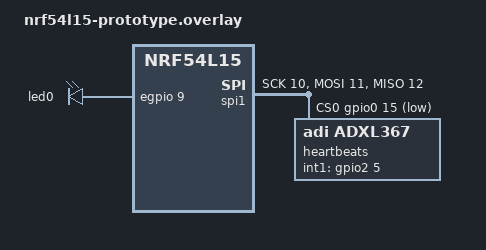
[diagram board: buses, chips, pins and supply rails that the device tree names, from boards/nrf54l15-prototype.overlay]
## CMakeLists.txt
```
cmake_minimum_required(VERSION 3.20.0)
find_package(Zephyr REQUIRED HINTS $ENV{ZEPHYR_BASE})

project(earworm_sensor)

target_sources(app PRIVATE src/main.c)
target_sources(app PRIVATE src/power_failure/pfc.c)
target_sources(app PRIVATE src/accel/accel.c)
# target_sources(app PRIVATE src/accel/filter.c)
target_sources(app PRIVATE src/ble/ble.c)

#set(BOARD nrf54l15dk_nrf54l15)
```

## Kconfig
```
#
# Copyright (c) 2018 Nordic Semiconductor
#
# SPDX-License-Identifier: LicenseRef-Nordic-5-Clause
#

source "Kconfig.zephyr"

menu "Nordic UART BLE GATT service sample"

config BT_NUS_THREAD_STACK_SIZE
	int "Thread stack size"
	default 1024
	help
	  Stack size used in each of the two threads

config BT_NUS_UART_BUFFER_SIZE
	int "UART payload buffer element size"
	default 40
	help
	  Size of the payload buffer in each RX and TX FIFO element

config BT_NUS_SECURITY_ENABLED
	bool "Enable security"
	default y
	select BT_SMP
	help
	  "Enable BLE security for the UART service"

config BT_NUS_UART_RX_WAIT_TIME
	int "Timeout for UART RX complete event"
	default 50000
	help
	  Wait for RX complete event time in microseconds

config SETTINGS
	default y

config ZMS
	default y if SOC_FLASH_NRF_RRAM

config NVS
	default y if !SOC_FLASH_NRF_RRAM

endmenu
```

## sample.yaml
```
sample:
  description: Bluetooth Low Energy UART service sample
  name: Bluetooth LE UART service
tests:
  sample.bluetooth.peripheral_uart:
    sysbuild: true
    build_only: true
    platform_allow: nrf52dk/nrf52832 nrf52833dk/nrf52833 nrf52840dk/nrf52840
      nrf5340dk/nrf5340/cpuapp nrf5340dk/nrf5340/cpuapp/ns thingy53/nrf5340/cpuapp
      thingy53/nrf5340/cpuapp/ns nrf21540dk/nrf52840 nrf54l15dk/nrf54l15/cpuapp
      nrf54l15pdk/nrf54l15/cpuapp nrf54h20dk/nrf54h20/cpuapp nrf54h20dk/nrf54h20/cpurad
    integration_platforms:
      - nrf52dk/nrf52832
      - nrf52833dk/nrf52833
      - nrf52840dk/nrf52840
      - nrf5340dk/nrf5340/cpuapp
      - nrf5340dk/nrf5340/cpuapp/ns
      - thingy53/nrf5340/cpuapp
      - thingy53/nrf5340/cpuapp/ns
      - nrf21540dk/nrf52840
      - nrf54l15dk/nrf54l15/cpuapp
      - nrf54l15pdk/nrf54l15/cpuapp
      - nrf54h20dk/nrf54h20/cpuapp
      - nrf54h20dk/nrf54h20/cpurad
    tags: bluetooth ci_build sysbuild
  sample.bluetooth.peripheral_uart_cdc:
    sysbuild: true
    build_only: true
    extra_args: OVERLAY_CONFIG=prj_cdc.conf DTC_OVERLAY_FILE="usb.overlay"
    integration_platforms:
      - nrf52840dk/nrf52840
      - nrf52833dk/nrf52833
    platform_allow: nrf52840dk/nrf52840 nrf52833dk/nrf52833
    tags: bluetooth ci_build sysbuild
  sample.bluetooth.peripheral_uart_minimal:
    sysbuild: true
    build_only: true
    extra_args: FILE_SUFFIX=minimal
    integration_platforms:
      - nrf52dk/nrf52805
      - nrf52dk/nrf52810
      - nrf52840dk/nrf52811
      - nrf52833dk/nrf52820
    platform_allow: nrf52dk/nrf52805 nrf52dk/nrf52810 nrf52840dk/nrf52811 nrf52833dk/nrf52820
    tags: bluetooth ci_build sysbuild
  sample.bluetooth.peripheral_uart_ble_rpc:
    sysbuild: true
    build_only: true
    extra_args:
      - SNIPPET=nordic-bt-rpc
      - FILE_SUFFIX=bt_rpc
    integration_platforms:
      - nrf5340dk/nrf5340/cpuapp
      - nrf54h20dk/nrf54h20/cpuapp
    platform_allow: nrf5340dk/nrf5340/cpuapp nrf54h20dk/nrf54h20/cpuapp
    tags: bluetooth ci_build sysbuild
  sample.bluetooth.peripheral_uart.security_disabled:
    sysbuild: true
    build_only: true
    platform_allow: nrf52dk/nrf52832 nrf52833dk/nrf52833 nrf52840dk/nrf52840
      nrf5340dk/nrf5340/cpuapp nrf5340dk/nrf5340/cpuapp/ns thingy53/nrf5340/cpuapp
      thingy53/nrf5340/cpuapp/ns nrf21540dk/nrf52840
    integration_platforms:
      - nrf52840dk/nrf52840
    tags: bluetooth ci_build sysbuild
    extra_configs:
      - CONFIG_BT_NUS_SECURITY_ENABLED=n
```

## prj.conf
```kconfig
# Copyright (c) 2021 Nordic Semiconductor ASA
# SPDX-License-Identifier: Apache-2.0
#
# This file contains selected Kconfig options for the application.

CONFIG_GPIO=y

# Power failure Kconfig options
#CONFIG_PM=y
CONFIG_PM_DEVICE=y
CONFIG_PM_DEVICE_RUNTIME=y
CONFIG_PM_STATS=y
CONFIG_POWEROFF=y

CONFIG_NRFX_POWER=y 
CONFIG_ADC=y
CONFIG_ADC_NRFX_SAADC=y

# ADXL367 Kconfig options
CONFIG_SENSOR=y
CONFIG_SENSOR_ASYNC_API=y
CONFIG_SPI=y
#CONFIG_SPI_ASYNC=y
CONFIG_SPI_RTIO=y
#CONFIG_SPI_NRFX=y
CONFIG_ADXL367=y
CONFIG_ADXL367_STREAM=n
CONFIG_ADXL367_TRIGGER_GLOBAL_THREAD=y
#CONFIG_ADXL367_ACTIVITY_DETECTION_MODE=n
##CONFIG_ADXL367_INACTIVITY_DETECTION_MODE=n
#CONFIG_ADXL367_REFERENCED_ACTIVITY_DETECTION_MODE=n
#CONFIG_ADXL367_REFERENCED_INACTIVITY_DETECTION_MODE=n


# Bluetooth Kconfig options

# Enable the UART driver
CONFIG_UART_ASYNC_API=n
CONFIG_NRFX_UARTE0=n
CONFIG_SERIAL=n

# # Make sure printk is printing to the UART console
CONFIG_CONSOLE=n
CONFIG_UART_CONSOLE=n

CONFIG_BT=y
CONFIG_BT_PERIPHERAL=y
CONFIG_BT_LL_SW_SPLIT=y
CONFIG_BT_CTLR_ADVANCED_FEATURES=y # Ensures low-power modes
CONFIG_BT_DEVICE_NAME="Nordic_UART_Service"
CONFIG_BT_MAX_CONN=1
CONFIG_BT_MAX_PAIRED=1
CONFIG_BT_CTLR=y
CONFIG_BT_HCI=y
CONFIG_BT_PHY_UPDATE=y

# # Enable the NUS service
CONFIG_BT_NUS=y

# # Enable bonding
# CONFIG_BT_SETTINGS=y
# CONFIG_FLASH=y
# CONFIG_FLASH_PAGE_LAYOUT=y
# CONFIG_FLASH_MAP=y


#------------------------------------------------------------------------------------

CONFIG_BT_DEVICE_NAME="earworm_ble"
CONFIG_BT=y
CONFIG_BT_SMP=y
CONFIG_BT_PERIPHERAL=y
CONFIG_BT_CENTRAL=y
CONFIG_BT_MAX_CONN=2
CONFIG_BT_BONDABLE=n

CONFIG_BT_SCAN=y
CONFIG_BT_SCAN_FILTER_ENABLE=y
CONFIG_BT_SCAN_UUID_CNT=1

CONFIG_BT_GATT_CLIENT=y
CONFIG_BT_THROUGHPUT=y

CONFIG_BT_GATT_DM=y
CONFIG_HEAP_MEM_POOL_SIZE=2048

CONFIG_BT_USER_DATA_LEN_UPDATE=y
CONFIG_BT_USER_PHY_UPDATE=y
CONFIG_BT_GAP_AUTO_UPDATE_CONN_PARAMS=n

CONFIG_BT_BUF_ACL_RX_SIZE=2048
CONFIG_BT_ATT_PREPARE_COUNT=2
CONFIG_BT_ATT_TX_COUNT=10
CONFIG_BT_L2CAP_TX_MTU=2000
CONFIG_BT_L2CAP_DYNAMIC_CHANNEL=y
CONFIG_BT_CONN_TX_MAX=10
CONFIG_BT_BUF_ACL_TX_COUNT=10
CONFIG_BT_BUF_ACL_TX_SIZE=2048

CONFIG_BT_CTLR_DATA_LENGTH_MAX=251
CONFIG_BT_CTLR_PHY_2M=y
CONFIG_BT_CTLR_PHY_CODED=y
CONFIG_BT_CTLR_SDC_MAX_CONN_EVENT_LEN_DEFAULT=4000000

#------------------------------------------------------------------------------------


# Enable DK LED and Buttons library
CONFIG_DK_LIBRARY=y

# # This example requires more stack
# CONFIG_MAIN_STACK_SIZE=1152
# CONFIG_SYSTEM_WORKQUEUE_STACK_SIZE=2048

# # Config logger
CONFIG_LOG=n
#CONFIG_USE_SEGGER_RTT=y
#CONFIG_LOG_BACKEND_RTT=y
#CONFIG_LOG_BACKEND_UART=n
#CONFIG_LOG_PRINTK=n
#CONFIG_LOG_DEFAULT_LEVEL=4
#CONFIG_SENSOR_LOG_LEVEL_DBG=y
# CONFIG_PRINTK=y

CONFIG_ASSERT=y

# # Use External LF Crystal Oscillator
# # CONFIG_CLOCK_CONTROL_NRF_LF_CLOCK_LFXO=y ##################

# # Add Data Packet Length Extension (DLE) Support
# # CONFIG_BT_CTLR_DATA_LENGTH_MAX=251
# CONFIG_BT_DATA_LEN_UPDATE=y

# # Enable Connection Event Length Extension
# # CONFIG_BT_CTLR_CONN_EVT_LEN_EXT=y #####

# CONFIG_SENSOR_LOG_LEVEL_DBG=y

# # Enable shell for debugging
# CONFIG_I2C=y

#CONFIG_SHELL=y
#CONFIG_SPI_SHELL=y
#CONFIG_SENSOR_SHELL=y
#CONFIG_SENSOR_SHELL_STREAM=y

#CONFIG_MAIN_STACK_SIZE=2048
#CONFIG_NO_OPTIMIZATIONS=y
```

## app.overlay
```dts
/*
 * Copyright (c) 2022 Nordic Semiconductor ASA
 *
 * SPDX-License-Identifier: LicenseRef-Nordic-5-Clause
 */
```

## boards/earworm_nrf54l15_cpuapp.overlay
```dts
/*
 * Copyright (c) 2024 Nordic Semiconductor ASA
 *
 * SPDX-License-Identifier: LicenseRef-Nordic-5-Clause
 */

 
/ {
    aliases {
        stream = &adxl367;
    };
};


&spi00 { 
    status = "okay";
    compatible = "nordic,nrf-spim";
    pinctrl-0 = <&spi00_default>;
    pinctrl-1 = <&spi00_sleep>;
    pinctrl-names = "default", "sleep";
    cs-gpios = <&gpio2 5 GPIO_ACTIVE_LOW>;
    adxl367: adxl367@0 {
            compatible = "adi,adxl367";
            label = "adxl367";
            reg = <0>;
            /* Configure other ADXL367 properties as needed. */
            spi-max-frequency = <DT_FREQ_M(4)>;
            odr = <2>; /* ODR: 50 Hz */
            int1-gpios = <&gpio2 6 (GPIO_ACTIVE_HIGH)>; /* P2.06 interrupt */
            wakeup-source;
    };
};
```

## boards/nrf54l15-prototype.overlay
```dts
/*
 * Copyright (c) 2024 Nordic Semiconductor ASA
 *
 * SPDX-License-Identifier: LicenseRef-Nordic-5-Clause
 */

&pinctrl {
    spi1_default: spi1_default {
        group1 {
            psels = <NRF_PSEL(SPI_SCK, 2, 1)>,  /* P2.01 - SCK */
                    <NRF_PSEL(SPI_MOSI, 2, 2)>, /* P2.02 - MOSI */
                    <NRF_PSEL(SPI_MISO, 2, 3)>; /* P2.03 - MISO */
        };
    };
    spi1_cs: spi1_cs {
        group2 {
            psels = <NRF_PSEL(GPIO, 2, 4)>; /* P2.04 - CS */
        };
    };
};

&led0 {
        gpios = <&egpio 9 GPIO_ACTIVE_HIGH>;
};

&spi1 {
    status = "okay";
    sck-pin = <10>;
    mosi-pin = <11>;
    miso-pin = <12>;
    cs-gpios = <&gpio0 15 GPIO_ACTIVE_LOW>;
};

&spi1 {
     my_spi_device: accelerometer@0 {
             compatible = "adi,adxl367";
             label = "heartbeats";
             reg = <0>;

             /* Configure other ADXL367 properties as needed.
             spi-max-frequency = <8000000>;
             duplex = <0>; /* full duplex */
             frame-format = <0>; /* Motorola frames */
             spi-cpol = <false>;
             spi-cpha = <false>;
             spi-hold-cs = <false>;
             odr = <2>; /* ODR: 50 Hz */
             int1-gpios = <&gpio2 5 (GPIO_ACTIVE_HIGH | GPIO_PULL_UP)>; /* P2.05 interrupt */
     };
};
```

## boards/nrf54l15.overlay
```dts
/*
 * Copyright (c) 2024 Nordic Semiconductor ASA
 *
 * SPDX-License-Identifier: LicenseRef-Nordic-5-Clause
 */

&pinctrl {
    spi1_default: spi1_default {
        group1 {
            psels = <NRF_PSEL(SPI_SCK, 2, 1)>,  /* P2.01 - SCK */
                    <NRF_PSEL(SPI_MOSI, 2, 2)>, /* P2.02 - MOSI */
                    <NRF_PSEL(SPI_MISO, 2, 3)>; /* P2.03 - MISO */
        };
    };
    spi1_cs: spi1_cs {
        group2 {
            psels = <NRF_PSEL(GPIO, 2, 4)>; /* P2.04 - CS */
        };
    };
};

&led0 {
        gpios = <&egpio 9 GPIO_ACTIVE_HIGH>;
};

&spi1 {
    status = "okay";
    sck-pin = <10>;
    mosi-pin = <11>;
    miso-pin = <12>;
    cs-gpios = <&gpio0 15 GPIO_ACTIVE_LOW>;
};

&spi1 {
     my_spi_device: accelerometer@0 {
             compatible = "adi,adxl367";
             label = "heartbeats";
             reg = <0>;

             /* Configure other ADXL367 properties as needed.
             spi-max-frequency = <4000000>;
             duplex = <0>; /* full duplex */
             frame-format = <0>; /* Motorola frames */
             spi-cpol = <false>;
             spi-cpha = <false>;
             spi-hold-cs = <false>;
             odr = <2>; /* ODR: 50 Hz */
             int1-gpios = <&gpio2 5 (GPIO_ACTIVE_HIGH | GPIO_PULL_UP)>; /* P2.05 interrupt */
     };
};
```

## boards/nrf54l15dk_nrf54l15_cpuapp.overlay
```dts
/*
 * Copyright (c) 2024 Nordic Semiconductor ASA
 *
 * SPDX-License-Identifier: LicenseRef-Nordic-5-Clause
 */

 
/ {
	aliases {
		stream = &adxl367;
	};
};

&pinctrl {
	spi21_default: spi21_default {
		group1 {
			psels = <NRF_PSEL(SPIM_SCK, 1, 11)>,
                    <NRF_PSEL(SPIM_MOSI, 1, 12)>, 
                    <NRF_PSEL(SPIM_MISO, 1, 13)>;
		};
	};

	spi21_sleep: spi21_sleep {
		group1 {
			psels = <NRF_PSEL(SPIM_SCK, 1, 11)>,
					<NRF_PSEL(SPIM_MOSI, 1, 12)>,
					<NRF_PSEL(SPIM_MISO, 1, 13)>;
            low-power-enable;
		};
	};
};

&led0 {
    status = "disabled";
    gpios = <&gpio1 2 0>;
};

&spi21 { 
    status = "okay";
    compatible = "nordic,nrf-spim";
    pinctrl-0 = <&spi21_default>;
    pinctrl-1 = <&spi21_sleep>;
    pinctrl-names = "default", "sleep";
    cs-gpios = <&gpio1 8 GPIO_ACTIVE_LOW>;
    adxl367: adxl367@0 {
            compatible = "adi,adxl367";
            label = "adxl367";
            reg = <0>;
            /* Configure other ADXL367 properties as needed. */
            spi-max-frequency = <DT_FREQ_M(4)>;
            odr = <2>; /* ODR: 50 Hz */
            int1-gpios = <&gpio1 9 (GPIO_ACTIVE_HIGH)>; /* P1.09 interrupt */
            wakeup-source;
    };
};

&button0 {status = "disabled";};
&button1 {status = "disabled";};
&button2 {status = "disabled";};
&button3 {status = "disabled";};
&led1 {status = "disabled";};
&led2 {status = "disabled";};
&led3 {status = "disabled";};

&spi00 {status = "disabled";};
//&uart21 {status = "disabled";};
&pwm20 {status = "disabled";};

/delete-node/ &{/pin-controller/pwm20_default/group1/};
/delete-node/ &{/pin-controller/pwm20_sleep/group1/};

&temp {
	status = "disabled";
};

&ficr {
	status = "disabled";
};

&uicr {
	status = "disabled";
};
```

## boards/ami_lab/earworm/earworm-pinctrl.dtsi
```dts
&pinctrl {
    // Accelerometer pin settings
    spi00_default: spi00_default {
		group1 {
			psels = <NRF_PSEL(SPIM_SCK, 2, 1)>,   // P2.01
				    <NRF_PSEL(SPIM_MOSI, 2, 2)>,  // P2.02
				    <NRF_PSEL(SPIM_MISO, 2, 4)>;  // P2.04
		};
	};

	spi00_sleep: spi00_sleep {
		group1 {
			psels = <NRF_PSEL(SPIM_SCK, 2, 1)>,   // P2.01
				    <NRF_PSEL(SPIM_MOSI, 2, 2)>,  // P2.02
				    <NRF_PSEL(SPIM_MISO, 2, 4)>;  // P2.04
			low-power-enable;
		};
	};

    // Serial Console / Test point settings
    uart20_default: uart20_default {
		group1 {
			psels = <NRF_PSEL(UART_TX, 1, 3)>;
		};
		group2 {
			psels = <NRF_PSEL(UART_RX, 1, 5)>;
			bias-pull-up;
		};
	};

	uart20_sleep: uart0_sleep {
		group1 {
			psels = <NRF_PSEL(UART_TX, 1, 3)>,
				    <NRF_PSEL(UART_RX, 1, 5)>;
			low-power-enable;
		};
    };
};
```

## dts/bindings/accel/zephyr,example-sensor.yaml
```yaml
# Copyright (c) 2023 Analog Devices Inc.
# SPDX-License-Identifier: Apache-2.0

description: ADXL367 3-axis nanopower accelerometer, accessed through SPI bus

compatible: "adi,adxl367"

include: ["spi-device.yaml", "adi,adxl367-common.yaml"]

# SPI properties
properties:
  spi-max-frequency: true

  cs-gpios:
```

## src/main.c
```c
/*
 * Copyright (c) 2021 Nordic Semiconductor ASA
 * SPDX-License-Identifier: Apache-2.0
 */

#include "../include/pfc.h"
#include "../include/accel.h"
#include "../include/ble.h"

#include <zephyr/kernel.h>
#include <zephyr/device.h>
#include <zephyr/devicetree.h>
#include <zephyr/pm/pm.h>
#include <stdio.h>
#include <zephyr/drivers/gpio.h>

 
 /* 1000 msec = 1 sec */
 #define SLEEP_TIME_MS   1000
 
 /* The devicetree node identifier for the "led0" alias. */
 #define LED0_NODE DT_ALIAS(led0)
 #define ACCEL_NODE DT_ALIAS(adxl367)
 K_FIFO_DEFINE(fifo);
 K_SEM_DEFINE(poll_buffer, 0, 1);

 /*
  * A build error on this line means your board is unsupported.
  * See the sample documentation for information on how to fix this.
  */
 static const struct gpio_dt_spec led = GPIO_DT_SPEC_GET(LED0_NODE, gpios);
 const struct device *const adxl367_dev = DEVICE_DT_GET(DT_NODELABEL(adxl367));

int main(void)
{
	// Force System ON idle as the only allowed state
	int key = 0;
	key = irq_lock();
	k_cpu_atomic_idle(key);
	uint8_t buffer[ADXL367_RTIO_BUF_SIZE] = {0};
	int16_t sample_buffer[ADXL367_SAMPLE_SET * 3] = {0};
    printk("Initializing Power-Fail Comparator...\n");
	int ret;

	if (!gpio_is_ready_dt(&led)) {
		return 0;
	}

	ret = gpio_pin_configure_dt(&led, GPIO_OUTPUT_ACTIVE);
	if (ret < 0) {
		return 0;
	}

    configure_pof_interrupt();

	ble_init();

	if (!check_adxl367(adxl367_dev)) {
		exit(1);
	}

//    if (!setup_adxl367_fifo_buffer(adxl367_dev, buffer)) {
// 	   exit(1);
//    }
	//test_adxl367(adxl367_dev);

	struct sensor_trigger trig = {
		.type = SENSOR_TRIG_DATA_READY,
		.chan = SENSOR_CHAN_ACCEL_XYZ,
	};

	ret = sensor_trigger_set(adxl367_dev, &trig, adxl367_data_ready_handler);
	if (ret < 0) {
		printf("Could not set tap trigger with error code: %d\n", ret);
		return ret;
	}

    while (1)
    {
     	// k_sleep(K_SECONDS(1));  // Sleep to reduce CPU usage
		// if (!retrieve_adxl367_fifo_buffer(adxl367_dev, buffer, 768)) {
		// 	printk("Failed to retrieve FIFO buffer.\n");
		// 	exit(1);
		// }
		retrieve_adxl367_samples(adxl367_dev, sample_buffer, ADXL367_SAMPLE_SET);
		ble_send((uint8_t*)sample_buffer, ADXL367_SAMPLE_SET * 6);
    }

	return 0;
}
```

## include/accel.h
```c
#ifndef ACCEL_H
#define ACCEL_H

#include <zephyr/kernel.h>
#include <zephyr/device.h>
#include <zephyr/drivers/sensor.h>
#include <zephyr/rtio/rtio.h>
#include <stdio.h>

#include "../../zephyr/drivers/sensor/adi/adxl367/adxl367.h"

#define ADXL367_NODE DT_NODELABEL(adxl367)

// ADXL367 RTIO-relevant definitions
#define N     (1)
#define SQ_SZ (N) // Number of start events queued at a time
#define CQ_SZ (N) // Number of completion events consumed at a time
#define NUM_BLKS 10
#define BLK_SZ 256
#define BLK_ALIGN sizeof(void *) // uint16_t aligned

#define ADXL367_RTIO_BUF_SIZE 1024
#define ADXL367_SAMPLE_SET 170
#define SAMPLE_PERIOD 1


bool check_adxl367(const struct device *dev);
bool setup_adxl367_fifo_buffer(const struct device *dev);
bool retrieve_adxl367_fifo_buffer(const struct device *dev, uint8_t *buf, uint32_t buf_len);
void retrieve_adxl367_samples(const struct device *dev, int16_t *buf, uint32_t buf_len);
void adxl367_data_ready_handler(const struct device *dev, const struct sensor_trigger *trigger);

void test_adxl367(const struct device *dev);
bool test_adxl367_sensor_stream(const struct device *adxl367_dev);
// filter
void init_bandpass_filter();

void process_bandpass_filter(float32_t *input, float32_t *output);
#endif /* ACCEL_H */
```

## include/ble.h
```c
#ifndef BLE_H
#define BLE_H

#include <zephyr/kernel.h>
#include <zephyr/types.h>
#include <zephyr/drivers/uart.h>
#include <zephyr/bluetooth/bluetooth.h>
#include <bluetooth/services/nus.h>
#include <bluetooth/services/throughput.h>
#include <dk_buttons_and_leds.h>
#include <zephyr/settings/settings.h>
#include <stdio.h>
#include <string.h>
#include <zephyr/logging/log.h>

#include <zephyr/bluetooth/conn.h> // Data length

#include <zephyr/bluetooth/hci.h>

#include <stdbool.h>
#include <stdlib.h>
#include <stdint.h>
#include <zephyr/net_buf.h>
#include <zephyr/bluetooth/addr.h>
#include <zephyr/bluetooth/hci_types.h>

#define BLE_STACKSIZE CONFIG_BT_NUS_THREAD_STACK_SIZE
#define PRIORITY 7

#define DEVICE_NAME CONFIG_BT_DEVICE_NAME
#define DEVICE_NAME_LEN (sizeof(DEVICE_NAME) - 1)

#define RUN_STATUS_LED DK_LED1
#define RUN_LED_BLINK_INTERVAL 1000

#define BLE_CHUNK_SIZE 510

extern struct k_fifo fifo;

/* Function prototypes */
void ble_init(void);
void ble_send(uint8_t *buf, uint32_t buf_len);
void ble_send_thread(void *p1, void *p2);
void error(void);

#endif /* BLE_H */
```

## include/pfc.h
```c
#ifndef PFC_H
#define PFC_H

#include <zephyr/kernel.h>
#include <zephyr/drivers/gpio.h>
#include <zephyr/pm/pm.h>
#include <nrfx_power.h>
#include <stdio.h>

#define SAMPLE_TIMEOUT    K_SECONDS(1)

void pof_deep_sleep(void);
void configure_pof_interrupt(void);
void power_fail_handler(void);

#endif /* PFC_H */
```
